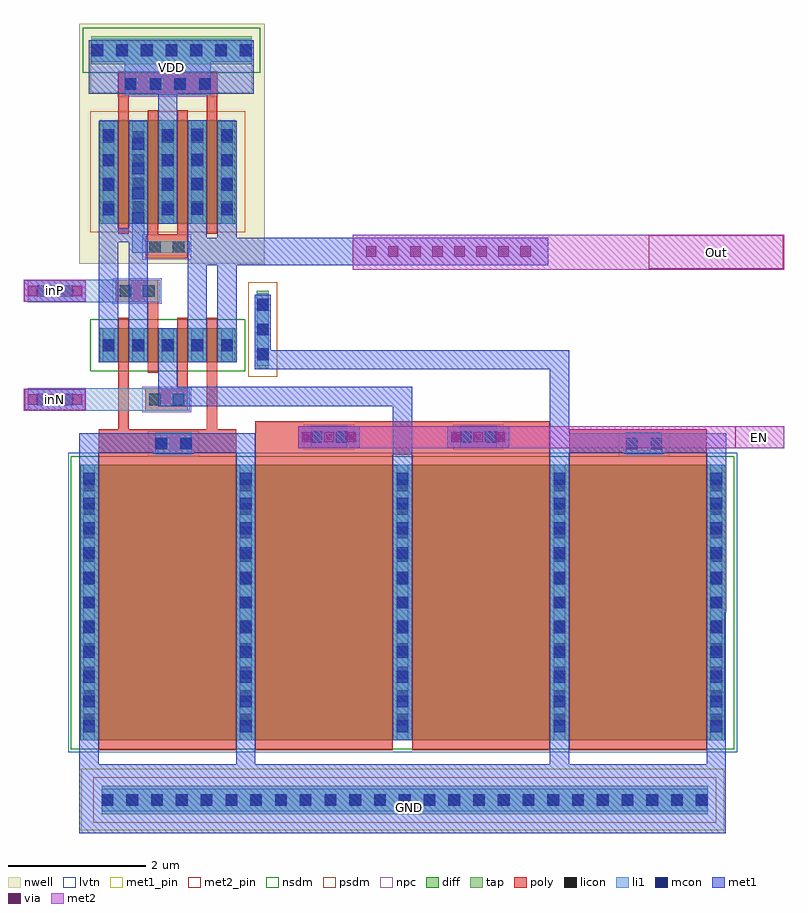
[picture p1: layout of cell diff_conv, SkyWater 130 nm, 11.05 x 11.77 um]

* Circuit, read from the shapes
.subckt diff_conv EN GND Out VDD inN inP
XM1 GND GND GND GND sky130_fd_pr__nfet_01v8_lvt w=4 l=2 m=2
XM2 n1 GND n1 GND sky130_fd_pr__nfet_01v8 w=0.5 l=0.15
XM3 n2 inP n1 GND sky130_fd_pr__nfet_01v8 w=0.5 l=0.15
XM4 Out inN n2 GND sky130_fd_pr__nfet_01v8 w=0.5 l=0.15
XM5 Out GND Out GND sky130_fd_pr__nfet_01v8 w=0.5 l=0.15
XM6 n2 EN GND GND sky130_fd_pr__nfet_01v8_lvt w=4 l=2 m=2
XM7 n1 VDD n1 VDD sky130_fd_pr__pfet_01v8 w=1.5 l=0.15
XM8 VDD n1 n1 VDD sky130_fd_pr__pfet_01v8 w=1.5 l=0.15
XM9 Out n1 VDD VDD sky130_fd_pr__pfet_01v8 w=1.5 l=0.15
XM10 Out VDD Out VDD sky130_fd_pr__pfet_01v8 w=1.5 l=0.15
.ends

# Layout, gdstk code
from math import pi, radians
import gdstk
lib = gdstk.Library(unit=1e-6, precision=1e-09)
def R(c, l, rs):  # rectangles x0, y0, x1, y1
    for r in rs: c.add(gdstk.rectangle(r[:2], r[2:], *l))
def A(c, l, x, y, w, h, nx, ny, dx, dy):  # array of equal rectangles
    R(c, l, [(x+i*dx, y+j*dy, x+i*dx+w, y+j*dy+h) for i in range(nx) for j in range(ny)])
nwell = (64, 20)
diff = (65, 20)
tap = (65, 44)
poly = (66, 20)
licon = (66, 44)
li1 = (67, 20)
mcon = (67, 44)
met1_pin = (68, 16)
met1 = (68, 20)
via = (68, 44)
met2_pin = (69, 16)
met2 = (69, 20)
nsdm = (93, 44)
psdm = (94, 20)
npc = (95, 20)
lvtn = (125, 44)

nfet_01v8_cdns_795615572 = lib.new_cell('nfet_01v8_CDNS_79561557299100')
R(nfet_01v8_cdns_795615572, diff, [(-0.055,0,0,0.5), (0,0,0.15,0.5), (0.15,0,0.375,0.5)])
R(nfet_01v8_cdns_795615572, poly, [(0,-0.15,0.15,-0.095), (0,-0.095,0.15,0), (0,0,0.15,0.5), (0,0.5,0.15,0.595), (0,0.595,0.15,0.65)])
R(nfet_01v8_cdns_795615572, licon, [(0.205,0.165,0.375,0.335)])
R(nfet_01v8_cdns_795615572, li1, [(0.205,0,0.375,0.5)])
R(nfet_01v8_cdns_795615572, nsdm, [(-0.065,-0.13,0.385,0.63)])

pfet_01v8_cdns_795615572 = lib.new_cell('pfet_01v8_CDNS_79561557299101')
R(pfet_01v8_cdns_795615572, nwell, [(-0.235,-0.18,0.555,1.68)])
R(pfet_01v8_cdns_795615572, diff, [(-0.055,0,0,1.5), (0,0,0.15,1.5), (0.15,0,0.375,1.5)])
R(pfet_01v8_cdns_795615572, poly, [(0,-0.15,0.15,-0.095), (0,-0.095,0.15,0), (0,0,0.15,1.5), (0,1.5,0.15,1.595), (0,1.595,0.15,1.65)])
A(pfet_01v8_cdns_795615572, licon, 0.205, 0.155, 0.17, 0.17, 1, 4, 0, 0.34)
R(pfet_01v8_cdns_795615572, li1, [(0.205,0,0.375,1.5)])
R(pfet_01v8_cdns_795615572, psdm, [(-0.065,-0.13,0.385,1.63)])

nfet_01v8_lvt_cdns_79561 = lib.new_cell('nfet_01v8_lvt_CDNS_79561557299102')
R(nfet_01v8_lvt_cdns_79561, diff, [(-0.265,0,0,4), (0,0,2,4), (2,0,2.28,4), (2.28,0,4.28,4), (4.28,0,4.545,4)])
R(nfet_01v8_lvt_cdns_79561, poly, [(0,-0.15,2,-0.095), (2.28,-0.15,4.28,-0.095), (0,-0.095,2,0), (2.28,-0.095,4.28,0), (0,0,2,4), (2.28,0,4.28,4), (0,4,2,4.095), (2.28,4,4.28,4.095), (0,4.095,2,4.15), (2.28,4.095,4.28,4.15)])
A(nfet_01v8_lvt_cdns_79561, licon, -0.225, 0.215, 0.17, 0.17, 3, 11, 2.28, 0.34)
A(nfet_01v8_lvt_cdns_79561, li1, -0.225, 0, 0.17, 4, 3, 1, 2.28, 0)
R(nfet_01v8_lvt_cdns_79561, nsdm, [(-0.405,-0.13,4.685,4.13)])
R(nfet_01v8_lvt_cdns_79561, lvtn, [(-0.445,-0.18,4.725,4.18)])

c_pfet_01v8_cdns_795615572 = lib.new_cell('pfet_01v8_CDNS_79561557299103')
R(c_pfet_01v8_cdns_795615572, nwell, [(-0.445,-0.18,0.555,1.68)])
R(c_pfet_01v8_cdns_795615572, diff, [(-0.265,0,0,1.5), (0,0,0.15,1.5), (0.15,0,0.375,1.5)])
R(c_pfet_01v8_cdns_795615572, poly, [(0,-0.15,0.15,-0.095), (0,-0.095,0.15,0), (0,0,0.15,1.5), (0,1.5,0.15,1.595), (0,1.595,0.15,1.65)])
A(c_pfet_01v8_cdns_795615572, licon, -0.225, 0.155, 0.17, 0.17, 1, 4, 0, 0.34)
A(c_pfet_01v8_cdns_795615572, licon, 0.205, 0.155, 0.17, 0.17, 1, 4, 0, 0.34)
R(c_pfet_01v8_cdns_795615572, li1, [(-0.225,0,-0.055,1.5), (0.205,0,0.375,1.5)])
R(c_pfet_01v8_cdns_795615572, psdm, [(-0.405,-0.13,0.385,1.63)])

c_nfet_01v8_lvt_cdns_79561 = lib.new_cell('nfet_01v8_lvt_CDNS_79561557299104')
R(c_nfet_01v8_lvt_cdns_79561, diff, [(-0.265,0,0,4), (0,0,2,4), (2,0,2.265,4)])
R(c_nfet_01v8_lvt_cdns_79561, poly, [(0,-0.15,2,-0.095), (0,-0.095,2,0), (0,0,2,4), (0,4,2,4.095), (0,4.095,2,4.15)])
A(c_nfet_01v8_lvt_cdns_79561, licon, -0.225, 0.215, 0.17, 0.17, 1, 11, 0, 0.34)
A(c_nfet_01v8_lvt_cdns_79561, licon, 2.055, 0.215, 0.17, 0.17, 1, 11, 0, 0.34)
R(c_nfet_01v8_lvt_cdns_79561, li1, [(-0.225,0,-0.055,4), (2.055,0,2.225,4)])
R(c_nfet_01v8_lvt_cdns_79561, nsdm, [(-0.405,-0.13,2.405,4.13)])
R(c_nfet_01v8_lvt_cdns_79561, lvtn, [(-0.445,-0.18,2.445,4.18)])

c_pfet_01v8_cdns_795615572_ = lib.new_cell('pfet_01v8_CDNS_79561557299105')
R(c_pfet_01v8_cdns_795615572_, nwell, [(-0.235,-0.18,0.595,1.68)])
R(c_pfet_01v8_cdns_795615572_, diff, [(-0.055,0,0,1.5), (0,0,0.15,1.5), (0.15,0,0.415,1.5)])
R(c_pfet_01v8_cdns_795615572_, poly, [(0,-0.15,0.15,-0.095), (0,-0.095,0.15,0), (0,0,0.15,1.5), (0,1.5,0.15,1.595), (0,1.595,0.15,1.65)])
A(c_pfet_01v8_cdns_795615572_, licon, 0.205, 0.155, 0.17, 0.17, 1, 4, 0, 0.34)
R(c_pfet_01v8_cdns_795615572_, li1, [(0.205,0,0.375,1.5)])
R(c_pfet_01v8_cdns_795615572_, psdm, [(-0.065,-0.13,0.555,1.63)])

c_pfet_01v8_cdns_795615572__ = lib.new_cell('pfet_01v8_CDNS_79561557299106')
R(c_pfet_01v8_cdns_795615572__, nwell, [(-0.405,-0.18,0.385,1.68)])
R(c_pfet_01v8_cdns_795615572__, diff, [(-0.225,0,0,1.5), (0,0,0.15,1.5), (0.15,0,0.205,1.5)])
R(c_pfet_01v8_cdns_795615572__, poly, [(0,-0.15,0.15,-0.095), (0,-0.095,0.15,0), (0,0,0.15,1.5), (0,1.5,0.15,1.595), (0,1.595,0.15,1.65)])
A(c_pfet_01v8_cdns_795615572__, licon, -0.225, 0.155, 0.17, 0.17, 1, 4, 0, 0.34)
R(c_pfet_01v8_cdns_795615572__, li1, [(-0.225,0,-0.055,1.5)])
R(c_pfet_01v8_cdns_795615572__, psdm, [(-0.235,-0.13,0.215,1.63)])

c_nfet_01v8_cdns_795615572 = lib.new_cell('nfet_01v8_CDNS_79561557299107')
R(c_nfet_01v8_cdns_795615572, diff, [(-0.265,0,0,0.5), (0,0,0.15,0.5), (0.15,0,0.375,0.5)])
R(c_nfet_01v8_cdns_795615572, poly, [(0,-0.15,0.15,-0.095), (0,-0.095,0.15,0), (0,0,0.15,0.5), (0,0.5,0.15,0.595), (0,0.595,0.15,0.65)])
R(c_nfet_01v8_cdns_795615572, licon, [(-0.225,0.165,-0.055,0.335), (0.205,0.165,0.375,0.335)])
R(c_nfet_01v8_cdns_795615572, li1, [(-0.225,0,-0.055,0.5), (0.205,0,0.375,0.5)])
R(c_nfet_01v8_cdns_795615572, nsdm, [(-0.405,-0.13,0.385,0.63)])

c_nfet_01v8_cdns_795615572_ = lib.new_cell('nfet_01v8_CDNS_79561557299108')
R(c_nfet_01v8_cdns_795615572_, diff, [(-0.055,0,0,0.5), (0,0,0.15,0.5), (0.15,0,0.415,0.5)])
R(c_nfet_01v8_cdns_795615572_, poly, [(0,-0.15,0.15,-0.095), (0,-0.095,0.15,0), (0,0,0.15,0.5), (0,0.5,0.15,0.595), (0,0.595,0.15,0.65)])
R(c_nfet_01v8_cdns_795615572_, licon, [(0.205,0.165,0.375,0.335)])
R(c_nfet_01v8_cdns_795615572_, li1, [(0.205,0,0.375,0.5)])
R(c_nfet_01v8_cdns_795615572_, nsdm, [(-0.065,-0.13,0.555,0.63)])

pyl1con_c_cdns_795615572 = lib.new_cell('PYL1CON_C_CDNS_7956155729967')
R(pyl1con_c_cdns_795615572, poly, [(-0.135,-0.165,0.135,0.165)])
R(pyl1con_c_cdns_795615572, licon, [(-0.085,-0.085,0.085,0.085)])
R(pyl1con_c_cdns_795615572, npc, [(-0.185,-0.185,0.185,0.185)])

l1m1_c_cdns_795615572991 = lib.new_cell('L1M1_C_CDNS_79561557299121')
R(l1m1_c_cdns_795615572991, li1, [(-0.085,-0.74,0.085,0.75)])
A(l1m1_c_cdns_795615572991, mcon, -0.085, -0.625, 0.17, 0.17, 1, 4, 0, 0.36)
R(l1m1_c_cdns_795615572991, met1, [(-0.115,-0.74,0.115,0.75)])

c_l1m1_c_cdns_795615572991 = lib.new_cell('L1M1_C_CDNS_79561557299122')
R(c_l1m1_c_cdns_795615572991, li1, [(-0.085,-0.875,0.085,0.875)])
A(c_l1m1_c_cdns_795615572991, mcon, -0.085, -0.625, 0.17, 0.17, 1, 4, 0, 0.36)
R(c_l1m1_c_cdns_795615572991, met1, [(-0.115,-0.875,0.115,0.875)])

c_l1m1_c_cdns_795615572991_ = lib.new_cell('L1M1_C_CDNS_79561557299123')
R(c_l1m1_c_cdns_795615572991_, li1, [(-0.085,-0.75,0.085,0.75)])
A(c_l1m1_c_cdns_795615572991_, mcon, -0.085, -0.625, 0.17, 0.17, 1, 4, 0, 0.36)
R(c_l1m1_c_cdns_795615572991_, met1, [(-0.115,-0.75,0.115,0.75)])

c_l1m1_c_cdns_795615572991__ = lib.new_cell('L1M1_C_CDNS_79561557299124')
R(c_l1m1_c_cdns_795615572991__, li1, [(-0.085,-0.25,0.085,0.25)])
R(c_l1m1_c_cdns_795615572991__, mcon, [(-0.085,-0.085,0.085,0.085)])
R(c_l1m1_c_cdns_795615572991__, met1, [(-0.115,-0.25,0.115,0.25)])

l1m1_c_cdns_795615572998 = lib.new_cell('L1M1_C_CDNS_7956155729980')
R(l1m1_c_cdns_795615572998, li1, [(-0.085,-2,0.085,2)])
A(l1m1_c_cdns_795615572998, mcon, -0.085, -1.885, 0.17, 0.17, 1, 11, 0, 0.36)
R(l1m1_c_cdns_795615572998, met1, [(-0.115,-2,0.115,2)])

polyconn_cdns_7956155729 = lib.new_cell('polyConn_CDNS_795615572997')
R(polyconn_cdns_7956155729, poly, [(-0.315,-0.165,0.315,0.165)])
R(polyconn_cdns_7956155729, licon, [(-0.265,-0.085,-0.095,0.085), (0.095,-0.085,0.265,0.085)])
R(polyconn_cdns_7956155729, li1, [(-0.265,-0.165,0.265,0.165)])
R(polyconn_cdns_7956155729, mcon, [(-0.265,-0.085,-0.095,0.085), (0.095,-0.085,0.265,0.085)])
R(polyconn_cdns_7956155729, met1, [(-0.295,-0.145,0.295,0.145)])
R(polyconn_cdns_7956155729, npc, [(-0.365,-0.185,0.365,0.185)])

m1m2_c_cdns_795615572994 = lib.new_cell('M1M2_C_CDNS_7956155729948')
R(m1m2_c_cdns_795615572994, met1, [(-0.45,-0.16,0.45,0.16)])
A(m1m2_c_cdns_795615572994, via, -0.395, -0.075, 0.15, 0.15, 3, 1, 0.32, 0)
R(m1m2_c_cdns_795615572994, met2, [(-0.45,-0.16,0.45,0.16)])

c_polyconn_cdns_7956155729 = lib.new_cell('polyConn_CDNS_795615572993')
R(c_polyconn_cdns_7956155729, poly, [(-0.395,-0.165,0.395,0.165)])
R(c_polyconn_cdns_7956155729, licon, [(-0.265,-0.085,-0.095,0.085), (0.095,-0.085,0.265,0.085)])
R(c_polyconn_cdns_7956155729, li1, [(-0.265,-0.165,0.265,0.165)])
R(c_polyconn_cdns_7956155729, mcon, [(-0.265,-0.085,-0.095,0.085), (0.095,-0.085,0.265,0.085)])
R(c_polyconn_cdns_7956155729, met1, [(-0.45,-0.16,0.45,0.16)])
R(c_polyconn_cdns_7956155729, npc, [(-0.365,-0.185,0.365,0.185)])

c_polyconn_cdns_7956155729_ = lib.new_cell('polyConn_CDNS_7956155729935')
R(c_polyconn_cdns_7956155729_, poly, [(-0.675,-0.165,0.675,0.165)])
A(c_polyconn_cdns_7956155729_, licon, -0.625, -0.085, 0.17, 0.17, 4, 1, 0.36, 0)
R(c_polyconn_cdns_7956155729_, li1, [(-0.625,-0.165,0.625,0.165)])
A(c_polyconn_cdns_7956155729_, mcon, -0.625, -0.085, 0.17, 0.17, 4, 1, 0.36, 0)
R(c_polyconn_cdns_7956155729_, met1, [(-0.655,-0.145,0.655,0.145)])
R(c_polyconn_cdns_7956155729_, npc, [(-0.725,-0.185,0.725,0.185)])

nwelltap_cdns_7956155729 = lib.new_cell('nwellTap_CDNS_7956155729997')
R(nwelltap_cdns_7956155729, nwell, [(-1.345,-0.385,1.345,0.385)])
R(nwelltap_cdns_7956155729, tap, [(-1.165,-0.205,1.165,0.205)])
A(nwelltap_cdns_7956155729, licon, -1.165, -0.085, 0.17, 0.17, 7, 1, 0.36, 0)
R(nwelltap_cdns_7956155729, li1, [(-1.165,-0.165,1.165,0.165)])
A(nwelltap_cdns_7956155729, mcon, -1.165, -0.085, 0.17, 0.17, 7, 1, 0.36, 0)
R(nwelltap_cdns_7956155729, met1, [(-1.195,-0.145,1.195,0.145)])
R(nwelltap_cdns_7956155729, nsdm, [(-1.29,-0.33,1.29,0.33)])

subtap_cdns_795615572999 = lib.new_cell('subTap_CDNS_7956155729998')
R(subtap_cdns_795615572999, tap, [(-4.405,-0.205,4.405,0.205)])
A(subtap_cdns_795615572999, licon, -4.405, -0.085, 0.17, 0.17, 25, 1, 0.36, 0)
R(subtap_cdns_795615572999, li1, [(-4.405,-0.165,4.405,0.165)])
A(subtap_cdns_795615572999, mcon, -4.405, -0.085, 0.17, 0.17, 25, 1, 0.36, 0)
R(subtap_cdns_795615572999, met1, [(-4.435,-0.145,4.435,0.145)])
R(subtap_cdns_795615572999, psdm, [(-4.53,-0.33,4.53,0.33)])

c_l1m1_c_cdns_795615572991___ = lib.new_cell('L1M1_C_CDNS_79561557299125')
R(c_l1m1_c_cdns_795615572991___, li1, [(-0.395,-0.165,0.395,0.165)])
R(c_l1m1_c_cdns_795615572991___, mcon, [(-0.265,-0.085,-0.095,0.085), (0.095,-0.085,0.265,0.085)])
R(c_l1m1_c_cdns_795615572991___, met1, [(-0.45,-0.16,0.45,0.16)])

c_subtap_cdns_795615572999 = lib.new_cell('subTap_CDNS_7956155729999')
R(c_subtap_cdns_795615572999, tap, [(-0.085,-0.565,0.085,0.565)])
A(c_subtap_cdns_795615572999, licon, -0.085, -0.445, 0.17, 0.17, 1, 3, 0, 0.36)
R(c_subtap_cdns_795615572999, li1, [(-0.085,-0.525,0.085,0.525)])
A(c_subtap_cdns_795615572999, mcon, -0.085, -0.445, 0.17, 0.17, 1, 3, 0, 0.36)
R(c_subtap_cdns_795615572999, met1, [(-0.115,-0.505,0.115,0.505)])
R(c_subtap_cdns_795615572999, psdm, [(-0.21,-0.69,0.21,0.69)])

c_m1m2_c_cdns_795615572994 = lib.new_cell('M1M2_C_CDNS_7956155729949')
R(c_m1m2_c_cdns_795615572994, met1, [(-1.25,-0.16,1.25,0.16)])
A(c_m1m2_c_cdns_795615572994, via, -1.195, -0.075, 0.15, 0.15, 8, 1, 0.32, 0)
R(c_m1m2_c_cdns_795615572994, met2, [(-1.25,-0.16,1.25,0.16)])

diff_conv = lib.new_cell('diff_conv')
R(diff_conv, nwell, [(19.075,26.265,21.775,29.755)])
R(diff_conv, poly, [(20.04,24.125,20.655,24.455), (19.61,25.705,20.225,26.035), (20.045,26.345,20.65,26.545), (19.645,28.845,21.085,29.045)])
R(diff_conv, li1, [(19.11,24.125,20.685,24.455), (19.11,25.705,20.255,26.035), (19.74,28.715,20.99,29.535)])
R(diff_conv, met1_pin, [(19.105,18.03,28.455,18.92), (19.235,28.75,21.595,29.49)])
A(diff_conv, met1, 19.08, 19.34, 0.28, 4, 5, 1, 2.28, 0)
A(diff_conv, met1, 19.365, 24.83, 0.28, 0.5, 5, 1, 0.43, 0)
R(diff_conv, met1, [(19.08,17.985,28.48,18.985), (20.655,24.83,20.935,28.35), (21.085,24.83,21.365,28.345), (19.365,24.835,19.645,28.345), (19.795,25.155,20.075,28.345), (19.365,26.575,20.075,26.78), (20.225,26.845,20.505,28.345), (19.215,28.735,21.615,29.515)])
R(diff_conv, met2_pin, [(28.615,23.585,29.325,23.905), (18.285,24.14,19.165,24.44), (18.28,25.715,19.17,26.025), (27.36,26.19,29.315,26.68)])
R(diff_conv, met2, [(22.26,23.585,25.39,23.905), (23.055,26.18,29.325,26.69)])
diff_conv.add(gdstk.FlexPath([(27.2,23.49),(27.2,23.86)], 2, ends="flush", simple_path=True, layer=66, datatype=20))  # poly
diff_conv.add(gdstk.FlexPath([(21.01,28.855),(21.01,28.5)], 0.15, ends=(0.075, 0), simple_path=True, layer=66, datatype=20))  # poly
diff_conv.add(gdstk.FlexPath([(19.72,28.855),(21.01,28.855)], 0.15, ends="extended", simple_path=True, layer=66, datatype=20))  # poly
diff_conv.add(gdstk.FlexPath([(19.72,28.5),(19.72,28.855)], 0.15, ends=(0, 0.075), simple_path=True, layer=66, datatype=20))  # poly
diff_conv.add(gdstk.FlexPath([(23.845,23.49),(23.845,23.975)], 2, ends="flush", simple_path=True, layer=66, datatype=20))  # poly
diff_conv.add(gdstk.FlexPath([(24.92,23.49),(24.92,23.975)], 2, ends="flush", simple_path=True, layer=66, datatype=20))  # poly
diff_conv.add(gdstk.FlexPath([(20.36,23.785),(21.01,23.785)], 0.15, ends=(1, 0.075), simple_path=True, layer=66, datatype=20))  # poly
diff_conv.add(gdstk.FlexPath([(20.36,23.49),(20.36,23.86)], 2, ends="flush", simple_path=True, layer=66, datatype=20))  # poly
diff_conv.add(gdstk.FlexPath([(22.64,23.49),(22.64,23.975)], 2, ends="flush", simple_path=True, layer=66, datatype=20))  # poly
diff_conv.add(gdstk.FlexPath([(21.01,23.785),(21.01,24.72)], 0.15, ends=(0.075, 0), simple_path=True, layer=66, datatype=20))  # poly
diff_conv.add(gdstk.FlexPath([(19.72,23.785),(20.36,23.785)], 0.15, ends=(0.075, 1), simple_path=True, layer=66, datatype=20))  # poly
diff_conv.add(gdstk.FlexPath([(19.72,24.735),(19.72,23.785)], 0.15, ends=(0, 0.075), simple_path=True, layer=66, datatype=20))  # poly
diff_conv.add(gdstk.FlexPath([(20.58,24.28),(20.095,24.28)], 0.15, ends=(0.075, 0), simple_path=True, layer=66, datatype=20))  # poly
diff_conv.add(gdstk.FlexPath([(20.58,24.68),(20.58,24.28)], 0.15, ends=(0, 0.075), simple_path=True, layer=66, datatype=20))  # poly
diff_conv.add(gdstk.FlexPath([(20.15,25.88),(19.665,25.88)], 0.15, ends=(0.075, 0), simple_path=True, layer=66, datatype=20))  # poly
diff_conv.add(gdstk.FlexPath([(20.15,25.48),(20.15,25.88)], 0.15, ends=(0, 0.075), simple_path=True, layer=66, datatype=20))  # poly
diff_conv.add(gdstk.FlexPath([(20.15,26.62),(20.15,26.7)], 0.15, ends=(0.075, 0), simple_path=True, layer=66, datatype=20))  # poly
diff_conv.add(gdstk.FlexPath([(20.58,26.62),(20.15,26.62)], 0.15, ends="extended", simple_path=True, layer=66, datatype=20))  # poly
diff_conv.add(gdstk.FlexPath([(20.58,26.7),(20.58,26.62)], 0.15, ends=(0, 0.075), simple_path=True, layer=66, datatype=20))  # poly
diff_conv.add(gdstk.FlexPath([(19.05,24.29),(20.685,24.29)], 0.17, ends="flush", simple_path=True, layer=67, datatype=20))  # li1
diff_conv.add(gdstk.FlexPath([(19.07,25.87),(20.255,25.87)], 0.17, ends="flush", simple_path=True, layer=67, datatype=20))  # li1
diff_conv.add(gdstk.FlexPath([(19.935,26.51),(20.685,26.51)], 0.17, ends=(0.085, 0), simple_path=True, layer=67, datatype=20))  # li1
diff_conv.add(gdstk.FlexPath([(19.935,26.85),(19.935,26.51)], 0.17, ends=(0, 0.085), simple_path=True, layer=67, datatype=20))  # li1
diff_conv.add(gdstk.FlexPath([(26.065,23.66),(26.06,23.66)], 0.28, ends="extended", simple_path=True, layer=68, datatype=20))  # met1
diff_conv.add(gdstk.FlexPath([(26.06,24.87),(26.06,23.66)], 0.28, ends="extended", simple_path=True, layer=68, datatype=20))  # met1
diff_conv.add(gdstk.FlexPath([(21.745,24.87),(26.06,24.87)], 0.28, ends=(0.115, 0.14), simple_path=True, layer=68, datatype=20))  # met1
diff_conv.add(gdstk.FlexPath([(21.745,25.415),(21.745,24.87)], 0.23, ends=(0, 0.14), simple_path=True, layer=68, datatype=20))  # met1
diff_conv.add(gdstk.FlexPath([(28.34,21.34),(28.345,21.34)], 0.28, ends="extended", simple_path=True, layer=68, datatype=20))  # met1
diff_conv.add(gdstk.FlexPath([(26.06,23.66),(26.06,18.435)], 0.28, ends=(0.14, 0), simple_path=True, layer=68, datatype=20))  # met1
diff_conv.add(gdstk.FlexPath([(28.345,21.34),(28.345,23.66)], 0.28, ends="extended", simple_path=True, layer=68, datatype=20))  # met1
diff_conv.add(gdstk.FlexPath([(28.345,23.66),(26.065,23.66)], 0.28, ends="extended", simple_path=True, layer=68, datatype=20))  # met1
diff_conv.add(gdstk.FlexPath([(28.34,18.405),(28.34,21.34)], 0.28, ends=(0, 0.14), simple_path=True, layer=68, datatype=20))  # met1
diff_conv.add(gdstk.FlexPath([(20.365,28.825),(20.365,27.595)], 0.28, ends=(0, 0.74), simple_path=True, layer=68, datatype=20))  # met1
diff_conv.add(gdstk.FlexPath([(20.935,26.44),(25.895,26.44)], 0.4, ends="flush", simple_path=True, layer=68, datatype=20))  # met1
diff_conv.add(gdstk.FlexPath([(21.5,21.34),(21.5,18.405)], 0.28, ends=(2, 0), simple_path=True, layer=68, datatype=20))  # met1
diff_conv.add(gdstk.FlexPath([(21.5,21.435),(21.5,21.34)], 0.28, ends=(0.14, 2), simple_path=True, layer=68, datatype=20))  # met1
diff_conv.add(gdstk.FlexPath([(19.22,21.34),(19.22,18.435)], 0.28, ends=(2, 0), simple_path=True, layer=68, datatype=20))  # met1
diff_conv.add(gdstk.FlexPath([(21.5,21.435),(21.5,23.66)], 0.28, ends="extended", simple_path=True, layer=68, datatype=20))  # met1
diff_conv.add(gdstk.FlexPath([(21.36,21.435),(21.5,21.435)], 0.28, ends=(0, 0.14), simple_path=True, layer=68, datatype=20))  # met1
diff_conv.add(gdstk.FlexPath([(21.5,23.66),(19.22,23.66)], 0.28, ends="extended", simple_path=True, layer=68, datatype=20))  # met1
diff_conv.add(gdstk.FlexPath([(19.22,23.66),(19.22,21.34)], 0.28, ends=(0.14, 2), simple_path=True, layer=68, datatype=20))  # met1
diff_conv.add(gdstk.FlexPath([(23.78,23.2),(23.92,23.2)], 0.28, ends=(0.14, 0), simple_path=True, layer=68, datatype=20))  # met1
diff_conv.add(gdstk.FlexPath([(23.78,24.335),(23.78,23.2)], 0.28, ends="extended", simple_path=True, layer=68, datatype=20))  # met1
diff_conv.add(gdstk.FlexPath([(20.365,24.335),(23.78,24.335)], 0.28, ends="extended", simple_path=True, layer=68, datatype=20))  # met1
diff_conv.add(gdstk.FlexPath([(20.365,24.89),(20.365,24.335)], 0.28, ends=(0, 0.14), simple_path=True, layer=68, datatype=20))  # met1
diff_conv.add(gdstk.FlexPath([(25.39,23.745),(29.325,23.745)], 0.32, ends="flush", simple_path=True, layer=69, datatype=20))  # met2
diff_conv.add(gdstk.Reference(nfet_01v8_cdns_795615572, (20.505,24.83)))
diff_conv.add(gdstk.Reference(nfet_01v8_cdns_795615572, (20.075,24.83)))
diff_conv.add(gdstk.Reference(pfet_01v8_cdns_795615572, (20.505,26.85)))
diff_conv.add(gdstk.Reference(nfet_01v8_lvt_cdns_79561, (21.64,19.34)))
diff_conv.add(gdstk.Reference(c_pfet_01v8_cdns_795615572, (19.645,26.85)))
diff_conv.add(gdstk.Reference(c_nfet_01v8_lvt_cdns_79561, (26.2,19.34)))
diff_conv.add(gdstk.Reference(c_nfet_01v8_lvt_cdns_79561, (19.36,19.34)))
diff_conv.add(gdstk.Reference(c_pfet_01v8_cdns_795615572_, (20.935,26.85)))
diff_conv.add(gdstk.Reference(c_pfet_01v8_cdns_795615572__, (20.225,26.85), rotation=pi, x_reflection=True))
diff_conv.add(gdstk.Reference(c_nfet_01v8_cdns_795615572, (19.645,24.83)))
diff_conv.add(gdstk.Reference(c_nfet_01v8_cdns_795615572_, (20.935,24.83)))
diff_conv.add(gdstk.Reference(pyl1con_c_cdns_795615572, (20.18,24.29), x_reflection=True))
diff_conv.add(gdstk.Reference(pyl1con_c_cdns_795615572, (20.52,24.29), x_reflection=True))
diff_conv.add(gdstk.Reference(pyl1con_c_cdns_795615572, (19.75,25.87)))
diff_conv.add(gdstk.Reference(pyl1con_c_cdns_795615572, (20.09,25.87)))
diff_conv.add(gdstk.Reference(pyl1con_c_cdns_795615572, (20.52,26.51)))
diff_conv.add(gdstk.Reference(pyl1con_c_cdns_795615572, (20.18,26.51)))
diff_conv.add(gdstk.Reference(l1m1_c_cdns_795615572991, (21.225,27.595)))
diff_conv.add(gdstk.Reference(l1m1_c_cdns_795615572991, (20.365,27.595)))
diff_conv.add(gdstk.Reference(l1m1_c_cdns_795615572991, (19.505,27.595)))
diff_conv.add(gdstk.Reference(c_l1m1_c_cdns_795615572991, (19.935,27.47)))
diff_conv.add(gdstk.Reference(c_l1m1_c_cdns_795615572991_, (20.795,27.6)))
diff_conv.add(gdstk.Reference(c_l1m1_c_cdns_795615572991__, (20.365,25.08)))
diff_conv.add(gdstk.Reference(c_l1m1_c_cdns_795615572991__, (19.505,25.08)))
diff_conv.add(gdstk.Reference(c_l1m1_c_cdns_795615572991__, (19.935,25.08)))
diff_conv.add(gdstk.Reference(c_l1m1_c_cdns_795615572991__, (21.225,25.08)))
diff_conv.add(gdstk.Reference(c_l1m1_c_cdns_795615572991__, (20.795,25.08)))
diff_conv.add(gdstk.Reference(l1m1_c_cdns_795615572998, (28.34,21.34)))
diff_conv.add(gdstk.Reference(l1m1_c_cdns_795615572998, (26.06,21.34)))
diff_conv.add(gdstk.Reference(l1m1_c_cdns_795615572998, (21.5,21.34)))
diff_conv.add(gdstk.Reference(l1m1_c_cdns_795615572998, (19.22,21.34)))
diff_conv.add(gdstk.Reference(l1m1_c_cdns_795615572998, (23.78,21.34)))
diff_conv.add(gdstk.Reference(polyconn_cdns_7956155729, (27.29,23.65)))
diff_conv.add(gdstk.Reference(polyconn_cdns_7956155729, (20.45,23.65)))
diff_conv.add(gdstk.Reference(m1m2_c_cdns_795615572994, (18.725,24.29)))
diff_conv.add(gdstk.Reference(m1m2_c_cdns_795615572994, (18.725,25.87)))
diff_conv.add(gdstk.Reference(m1m2_c_cdns_795615572994, (24.88,23.745)))
diff_conv.add(gdstk.Reference(m1m2_c_cdns_795615572994, (22.71,23.745)))
diff_conv.add(gdstk.Reference(c_polyconn_cdns_7956155729, (24.88,23.745)))
diff_conv.add(gdstk.Reference(c_polyconn_cdns_7956155729, (22.71,23.745)))
diff_conv.add(gdstk.Reference(c_polyconn_cdns_7956155729_, (20.365,28.88)))
diff_conv.add(gdstk.Reference(nwelltap_cdns_7956155729, (20.42,29.37)))
diff_conv.add(gdstk.Reference(subtap_cdns_795615572999, (23.81,18.47)))
diff_conv.add(gdstk.Reference(c_l1m1_c_cdns_795615572991___, (18.725,24.29)))
diff_conv.add(gdstk.Reference(c_l1m1_c_cdns_795615572991___, (18.725,25.87)))
diff_conv.add(gdstk.Reference(c_subtap_cdns_795615572999, (21.745,25.31)))
diff_conv.add(gdstk.Reference(c_m1m2_c_cdns_795615572994, (24.445,26.445)))
diff_conv.add(gdstk.Label('inN', (18.725,24.29), layer=69, texttype=5))
diff_conv.add(gdstk.Label('inP', (18.725,25.87), layer=69, texttype=5))
diff_conv.add(gdstk.Label('Out', (28.337,26.435), layer=69, texttype=5))
diff_conv.add(gdstk.Label('EN', (28.97,23.745), layer=69, texttype=5))
diff_conv.add(gdstk.Label('GND', (23.88,18.355), layer=68, texttype=5))
diff_conv.add(gdstk.Label('VDD', (20.415,29.12), layer=68, texttype=5))

lib.write_gds('diff_conv.gds')
